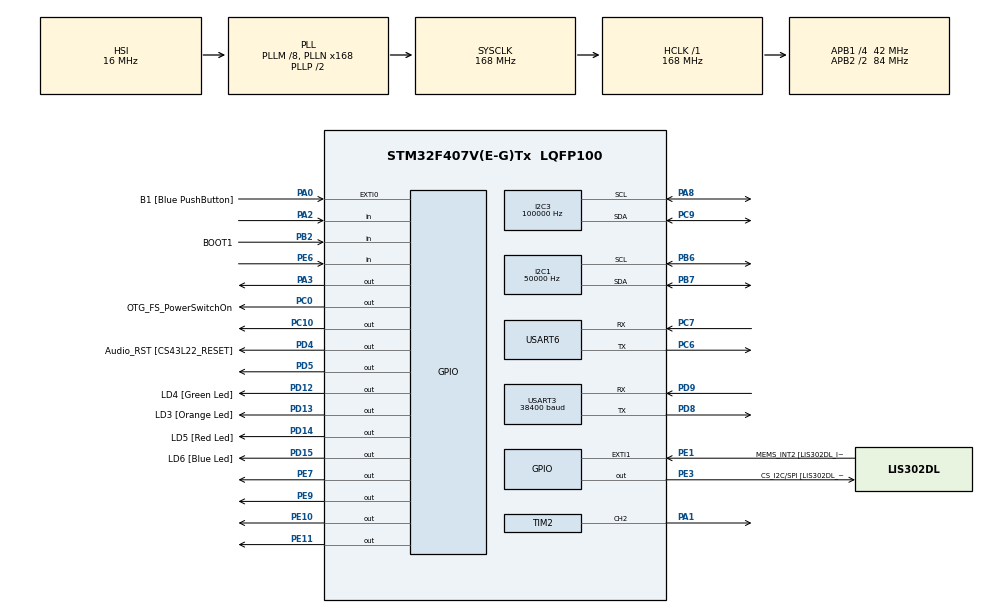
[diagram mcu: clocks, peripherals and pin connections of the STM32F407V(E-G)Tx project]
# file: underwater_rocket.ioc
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Dma.I2C1_RX.2.Direction=DMA_PERIPH_TO_MEMORY
Dma.I2C1_RX.2.FIFOMode=DMA_FIFOMODE_DISABLE
Dma.I2C1_RX.2.Instance=DMA1_Stream5
Dma.I2C1_RX.2.MemDataAlignment=DMA_MDATAALIGN_BYTE
Dma.I2C1_RX.2.MemInc=DMA_MINC_ENABLE
Dma.I2C1_RX.2.Mode=DMA_NORMAL
Dma.I2C1_RX.2.PeriphDataAlignment=DMA_PDATAALIGN_BYTE
Dma.I2C1_RX.2.PeriphInc=DMA_PINC_DISABLE
Dma.I2C1_RX.2.Priority=DMA_PRIORITY_LOW
Dma.I2C1_TX.3.Direction=DMA_MEMORY_TO_PERIPH
Dma.I2C1_TX.3.FIFOMode=DMA_FIFOMODE_DISABLE
Dma.I2C1_TX.3.Instance=DMA1_Stream6
Dma.I2C1_TX.3.MemDataAlignment=DMA_MDATAALIGN_BYTE
Dma.I2C1_TX.3.MemInc=DMA_MINC_ENABLE
Dma.I2C1_TX.3.Mode=DMA_NORMAL
Dma.I2C1_TX.3.PeriphDataAlignment=DMA_PDATAALIGN_BYTE
Dma.I2C1_TX.3.PeriphInc=DMA_PINC_DISABLE
Dma.I2C1_TX.3.Priority=DMA_PRIORITY_LOW
Dma.I2C3_RX.4.Direction=DMA_PERIPH_TO_MEMORY
Dma.I2C3_RX.4.FIFOMode=DMA_FIFOMODE_DISABLE
Dma.I2C3_RX.4.Instance=DMA1_Stream2
Dma.I2C3_RX.4.MemDataAlignment=DMA_MDATAALIGN_BYTE
Dma.I2C3_RX.4.MemInc=DMA_MINC_ENABLE
Dma.I2C3_RX.4.Mode=DMA_NORMAL
Dma.I2C3_RX.4.PeriphDataAlignment=DMA_PDATAALIGN_BYTE
Dma.I2C3_RX.4.PeriphInc=DMA_PINC_DISABLE
Dma.I2C3_RX.4.Priority=DMA_PRIORITY_LOW
Dma.I2C3_TX.5.Direction=DMA_MEMORY_TO_PERIPH
Dma.I2C3_TX.5.FIFOMode=DMA_FIFOMODE_DISABLE
Dma.I2C3_TX.5.Instance=DMA1_Stream4
Dma.I2C3_TX.5.MemDataAlignment=DMA_MDATAALIGN_BYTE
Dma.I2C3_TX.5.MemInc=DMA_MINC_ENABLE
Dma.I2C3_TX.5.Mode=DMA_NORMAL
Dma.I2C3_TX.5.PeriphDataAlignment=DMA_PDATAALIGN_BYTE
Dma.I2C3_TX.5.PeriphInc=DMA_PINC_DISABLE
Dma.I2C3_TX.5.Priority=DMA_PRIORITY_LOW
Dma.Request0=USART6_RX
Dma.Request1=USART6_TX
Dma.Request2=I2C1_RX
Dma.Request3=I2C1_TX
Dma.Request4=I2C3_RX
Dma.Request5=I2C3_TX
Dma.Request6=USART3_RX
Dma.Request7=USART3_TX
Dma.USART3_RX.6.Direction=DMA_PERIPH_TO_MEMORY
Dma.USART3_RX.6.FIFOMode=DMA_FIFOMODE_DISABLE
Dma.USART3_RX.6.Instance=DMA1_Stream1
Dma.USART3_RX.6.MemDataAlignment=DMA_MDATAALIGN_BYTE
Dma.USART3_RX.6.MemInc=DMA_MINC_ENABLE
Dma.USART3_RX.6.Mode=DMA_NORMAL
Dma.USART3_RX.6.PeriphDataAlignment=DMA_PDATAALIGN_BYTE
Dma.USART3_RX.6.PeriphInc=DMA_PINC_DISABLE
Dma.USART3_RX.6.Priority=DMA_PRIORITY_LOW
Dma.USART3_TX.7.Direction=DMA_MEMORY_TO_PERIPH
Dma.USART3_TX.7.FIFOMode=DMA_FIFOMODE_DISABLE
Dma.USART3_TX.7.Instance=DMA1_Stream3
Dma.USART3_TX.7.MemDataAlignment=DMA_MDATAALIGN_BYTE
Dma.USART3_TX.7.MemInc=DMA_MINC_ENABLE
Dma.USART3_TX.7.Mode=DMA_NORMAL
Dma.USART3_TX.7.PeriphDataAlignment=DMA_PDATAALIGN_BYTE
Dma.USART3_TX.7.PeriphInc=DMA_PINC_DISABLE
Dma.USART3_TX.7.Priority=DMA_PRIORITY_LOW
Dma.USART6_RX.0.Direction=DMA_PERIPH_TO_MEMORY
Dma.USART6_RX.0.FIFOMode=DMA_FIFOMODE_DISABLE
Dma.USART6_RX.0.Instance=DMA2_Stream1
Dma.USART6_RX.0.MemDataAlignment=DMA_MDATAALIGN_BYTE
Dma.USART6_RX.0.MemInc=DMA_MINC_ENABLE
Dma.USART6_RX.0.Mode=DMA_NORMAL
Dma.USART6_RX.0.PeriphDataAlignment=DMA_PDATAALIGN_BYTE
Dma.USART6_RX.0.PeriphInc=DMA_PINC_DISABLE
Dma.USART6_RX.0.Priority=DMA_PRIORITY_LOW
Dma.USART6_TX.1.Direction=DMA_MEMORY_TO_PERIPH
Dma.USART6_TX.1.FIFOMode=DMA_FIFOMODE_DISABLE
Dma.USART6_TX.1.Instance=DMA2_Stream6
Dma.USART6_TX.1.MemDataAlignment=DMA_MDATAALIGN_BYTE
Dma.USART6_TX.1.MemInc=DMA_MINC_ENABLE
Dma.USART6_TX.1.Mode=DMA_NORMAL
Dma.USART6_TX.1.PeriphDataAlignment=DMA_PDATAALIGN_BYTE
Dma.USART6_TX.1.PeriphInc=DMA_PINC_DISABLE
Dma.USART6_TX.1.Priority=DMA_PRIORITY_LOW
I2C1.ClockSpeed=50000
I2C3.ClockSpeed=100000
I2C3.I2C_Mode=I2C_Standard
Mcu.Family=STM32F4
Mcu.Name=STM32F407V(E-G)Tx
Mcu.Package=LQFP100
NVIC.DMA1_Stream1_IRQn=true\:10\:0\:true\:false\:true\:false\:true\:true
NVIC.DMA1_Stream2_IRQn=true\:10\:0\:true\:false\:true\:false\:true\:true
NVIC.DMA1_Stream3_IRQn=true\:10\:0\:true\:false\:true\:false\:true\:true
NVIC.DMA1_Stream4_IRQn=true\:10\:0\:true\:false\:true\:false\:true\:true
NVIC.DMA1_Stream5_IRQn=true\:10\:0\:true\:false\:true\:false\:true\:true
NVIC.DMA1_Stream6_IRQn=true\:10\:0\:true\:false\:true\:false\:true\:true
NVIC.DMA2_Stream1_IRQn=true\:10\:0\:true\:false\:true\:false\:true\:true
NVIC.DMA2_Stream6_IRQn=true\:10\:0\:true\:false\:true\:false\:true\:true
NVIC.I2C1_ER_IRQn=true\:10\:0\:true\:false\:true\:true\:true\:true
NVIC.I2C1_EV_IRQn=true\:10\:0\:true\:false\:true\:true\:true\:true
NVIC.I2C3_EV_IRQn=true\:10\:0\:true\:false\:true\:true\:true\:true
NVIC.PriorityGroup=NVIC_PRIORITYGROUP_4
NVIC.TIM6_DAC_IRQn=true\:0\:0\:true\:false\:true\:false\:true\:true
NVIC.TimeBase=TIM6_DAC_IRQn
NVIC.TimeBaseIP=TIM6
NVIC.USART3_IRQn=true\:10\:0\:true\:false\:true\:true\:true\:true
NVIC.USART6_IRQn=true\:10\:0\:true\:false\:true\:true\:true\:true
PA0-WKUP.GPIO_Label=B1 [Blue PushButton]
PA0-WKUP.Signal=GPXTI0
PA1.Signal=S_TIM2_CH2
PA13.GPIO_Label=SWDIO
PA13.Mode=Trace_Asynchronous_SW
PA13.Signal=SYS_JTMS-SWDIO
PA14.GPIO_Label=SWCLK
PA14.Mode=Trace_Asynchronous_SW
PA14.Signal=SYS_JTCK-SWCLK
PA2.Signal=GPIO_Input
PA3.GPIO_ModeDefaultOutputPP=GPIO_MODE_OUTPUT_PP
PA3.GPIO_PuPd=GPIO_NOPULL
PA3.Signal=GPIO_Output
PA4.GPIO_Label=I2S3_WS [CS43L22_LRCK]
PA4.GPIO_Mode=GPIO_MODE_AF_PP
PA4.GPIO_PuPd=GPIO_NOPULL
PA4.GPIO_Speed=GPIO_SPEED_FREQ_LOW
PA4.Signal=I2S3_WS
PA5.GPIO_Label=SPI1_SCK [LIS302DL_SCL/SPC]
PA5.GPIO_Mode=GPIO_MODE_AF_PP
PA5.GPIO_PuPd=GPIO_NOPULL
PA5.GPIO_Speed=GPIO_SPEED_FREQ_LOW
PA5.Signal=SPI1_SCK
PA6.GPIO_Label=SPI1_MISO [LIS302DL_SDO]
PA6.GPIO_Mode=GPIO_MODE_AF_PP
PA6.GPIO_PuPd=GPIO_NOPULL
PA6.GPIO_Speed=GPIO_SPEED_FREQ_LOW
PA6.Signal=SPI1_MISO
PA7.GPIO_Label=SPI1_MOSI [LIS302DL_SDA/SDI/SDO]
PA7.GPIO_Mode=GPIO_MODE_AF_PP
PA7.GPIO_PuPd=GPIO_NOPULL
PA7.GPIO_Speed=GPIO_SPEED_FREQ_LOW
PA7.Signal=SPI1_MOSI
PA8.GPIO_Pu=GPIO_NOPULL
PA8.GPIO_Speed=GPIO_SPEED_FREQ_MEDIUM
PA8.Mode=I2C
PA8.Signal=I2C3_SCL
PB2.GPIO_Label=BOOT1
PB2.GPIO_Mode=GPIO_MODE_INPUT
PB2.GPIO_PuPd=GPIO_NOPULL
PB2.Signal=GPIO_Input
PB3.GPIO_Label=SWO
PB3.Mode=Trace_Asynchronous_SW
PB3.Signal=SYS_JTDO-SWO
PB6.GPIO_Pu=GPIO_NOPULL
PB6.Mode=I2C
PB6.Signal=I2C1_SCL
PB7.GPIO_Pu=GPIO_NOPULL
PB7.Mode=I2C
PB7.Signal=I2C1_SDA
PC0.GPIO_Label=OTG_FS_PowerSwitchOn
PC0.GPIO_PuPd=GPIO_NOPULL
PC0.GPIO_Speed=GPIO_SPEED_FREQ_LOW
PC0.PinState=GPIO_PIN_SET
PC0.Signal=GPIO_Output
PC10.Signal=GPIO_Output
PC14-OSC32_IN.GPIO_Label=PC14-OSC32_IN
PC14-OSC32_IN.Signal=RCC_OSC32_IN
PC15-OSC32_OUT.GPIO_Label=PC15-OSC32_OUT
PC15-OSC32_OUT.Signal=RCC_OSC32_OUT
PC3.GPIO_Label=PDM_OUT [MP45DT02_DOUT]
PC3.GPIO_Mode=GPIO_MODE_AF_PP
PC3.GPIO_PuPd=GPIO_NOPULL
PC3.GPIO_Speed=GPIO_SPEED_FREQ_LOW
PC3.Signal=I2S2_SD
PC6.Mode=Asynchronous
PC6.Signal=USART6_TX
PC7.Mode=Asynchronous
PC7.Signal=USART6_RX
PC9.Mode=I2C
PC9.Signal=I2C3_SDA
PD12.GPIO_Label=LD4 [Green Led]
PD12.GPIO_PuPd=GPIO_NOPULL
PD12.GPIO_Speed=GPIO_SPEED_FREQ_LOW
PD12.Signal=GPIO_Output
PD13.GPIO_Label=LD3 [Orange Led]
PD13.GPIO_PuPd=GPIO_NOPULL
PD13.GPIO_Speed=GPIO_SPEED_FREQ_LOW
PD13.Signal=GPIO_Output
PD14.GPIO_Label=LD5 [Red Led]
PD14.GPIO_PuPd=GPIO_NOPULL
PD14.GPIO_Speed=GPIO_SPEED_FREQ_LOW
PD14.Signal=GPIO_Output
PD15.GPIO_Label=LD6 [Blue Led]
PD15.GPIO_PuPd=GPIO_NOPULL
PD15.GPIO_Speed=GPIO_SPEED_FREQ_LOW
PD15.Signal=GPIO_Output
PD4.GPIO_Label=Audio_RST [CS43L22_RESET]
PD4.GPIO_PuPd=GPIO_NOPULL
PD4.GPIO_Speed=GPIO_SPEED_FREQ_LOW
PD4.Signal=GPIO_Output
PD5.Signal=GPIO_Output
PD8.GPIO_ModeDefaultPP=GPIO_MODE_AF_OD
PD8.Mode=Asynchronous
PD8.Signal=USART3_TX
PD9.GPIO_ModeDefaultPP=GPIO_MODE_AF_OD
PD9.Mode=Asynchronous
PD9.Signal=USART3_RX
PE1.GPIO_Label=MEMS_INT2 [LIS302DL_INT2]
PE1.GPIO_ModeDefaultEXTI=GPIO_MODE_EVT_RISING
PE1.GPIO_PuPd=GPIO_NOPULL
PE1.Signal=GPXTI1
PE10.Signal=GPIO_Output
PE11.Signal=GPIO_Output
PE3.GPIO_Label=CS_I2C/SPI [LIS302DL_CS_I2C/SPI]
PE3.GPIO_PuPd=GPIO_NOPULL
PE3.GPIO_Speed=GPIO_SPEED_FREQ_LOW
PE3.Signal=GPIO_Output
PE6.Signal=GPIO_Input
PE7.Signal=GPIO_Output
PE9.Signal=GPIO_Output
PH0-OSC_IN.GPIO_Label=PH0-OSC_IN
PH0-OSC_IN.Signal=RCC_OSC_IN
PH1-OSC_OUT.GPIO_Label=PH1-OSC_OUT
PH1-OSC_OUT.Signal=RCC_OSC_OUT
ProjectManager.HeapSize=0x200
ProjectManager.StackSize=0x400
ProjectManager.TargetToolchain=CMake
RCC.48MHZClocksFreq_Value=48000000
RCC.AHBFreq_Value=168000000
RCC.APB1CLKDivider=RCC_HCLK_DIV4
RCC.APB1Freq_Value=42000000
RCC.APB1TimFreq_Value=84000000
RCC.APB2CLKDivider=RCC_HCLK_DIV2
RCC.APB2Freq_Value=84000000
RCC.APB2TimFreq_Value=168000000
RCC.CortexFreq_Value=168000000
RCC.HCLKFreq_Value=168000000
RCC.HSE_VALUE=8000000
RCC.HSI_VALUE=16000000
RCC.LSE_VALUE=32768
RCC.PLLM=8
RCC.PLLN=168
RCC.PLLQ=7
RCC.SYSCLKFreq_VALUE=168000000
RCC.SYSCLKSource=RCC_SYSCLKSOURCE_PLLCLK
RCC.VCOOutputFreq_Value=336000000
SH.S_TIM2_CH2.0=TIM2_CH2,PWM Generation2 CH2
TIM2.AutoReloadPreload=TIM_AUTORELOAD_PRELOAD_ENABLE
TIM2.Channel-PWM\ Generation2\ CH2=TIM_CHANNEL_2
TIM2.Period=20000 - 1
TIM2.Prescaler=84 - 1
USART3.BaudRate=38400
USART3.VirtualMode=VM_ASYNC
USART6.Parity=PARITY_EVEN
USART6.VirtualMode=VM_ASYNC
USART6.WordLength=WORDLENGTH_9B
VP_SYS_VS_tim6.Mode=TIM6
VP_TIM2_VS_ClockSourceINT.Mode=Internal
board=STM32F407G-DISC1

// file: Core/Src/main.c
/* USER CODE BEGIN Header */
/**
  ******************************************************************************
  * @file           : main.c
  * @brief          : Main program body
  ******************************************************************************
  * @attention
  *
  * <h2><center>&copy; Copyright (c) 2021 STMicroelectronics.
  * All rights reserved.</center></h2>
  *
  * This software component is licensed by ST under BSD 3-Clause license,
  * the "License"; You may not use this file except in compliance with the
  * License. You may obtain a copy of the License at:
  *                        opensource.org/licenses/BSD-3-Clause
  *
  ******************************************************************************
  */
/* USER CODE END Header */
#include "main.h"

/* USER CODE BEGIN Includes */
#include <stdio.h>
#include <stdlib.h>
#include "FreeRTOS.h"
#include "stm32f4xx_hal_uart.h"
#include "task.h"
#include "semphr.h"
#include "maestro.h"
#include "tasks_config.h"
/* USER CODE END Includes */

I2C_HandleTypeDef hi2c1;
I2C_HandleTypeDef hi2c3;
DMA_HandleTypeDef hdma_i2c1_rx;
DMA_HandleTypeDef hdma_i2c1_tx;
DMA_HandleTypeDef hdma_i2c3_rx;
DMA_HandleTypeDef hdma_i2c3_tx;

TIM_HandleTypeDef htim2;

UART_HandleTypeDef huart3;
UART_HandleTypeDef huart6;
DMA_HandleTypeDef hdma_usart3_rx;
DMA_HandleTypeDef hdma_usart3_tx;
DMA_HandleTypeDef hdma_usart6_rx;
DMA_HandleTypeDef hdma_usart6_tx;

void SystemClock_Config(void);
static void MX_GPIO_Init(void);
static void MX_DMA_Init(void);
static void MX_TIM2_Init(void);
static void MX_USART6_UART_Init(void);
static void MX_I2C1_Init(void);
static void MX_I2C3_Init(void);
static void MX_USART3_UART_Init(void);
/* USER CODE BEGIN PFP */

extern void Callback_BNO_DMA_Rx();
extern void MS5837_DMA_Callback();
extern void Maestro_CallBack();
extern void SEGGER_UART_init(uint32_t);
extern void CommRx_CallBack();
extern void CommTx_CallBack();

/* USER CODE END PFP */

int main(void)
{

  /* MCU Configuration--------------------------------------------------------*/

  /* Reset of all peripherals, Initializes the Flash interface and the Systick. */
  HAL_Init();

  /* USER CODE BEGIN Init */

  HAL_NVIC_SetPriorityGrouping(NVIC_PRIORITYGROUP_4);
  /* USER CODE END Init */

  /* Configure the system clock */
  SystemClock_Config();

  /* Initialize all configured peripherals */
  MX_GPIO_Init();
  MX_DMA_Init();
  MX_TIM2_Init();
  MX_USART6_UART_Init();
  MX_I2C1_Init();
  MX_I2C3_Init();
  MX_USART3_UART_Init();
  /* USER CODE BEGIN 2 */
  HAL_GPIO_WritePin(GPIOA, GPIO_PIN_3 , RESET);
  HAL_NVIC_SetPriority(DMA2_Stream7_IRQn, 10, 0);

 System_Tasks_Init();
  //if the control comes here, then the launch of the scheduler hasA failed due to
  //insufficient memory in heap

  /* USER CODE END 2 */

  /* Infinite loop */
  while (1)
  {

  }
}

void SystemClock_Config(void)
{
  RCC_OscInitTypeDef RCC_OscInitStruct = {0};
  RCC_ClkInitTypeDef RCC_ClkInitStruct = {0};

  /** Configure the main internal regulator output voltage
  */
  __HAL_RCC_PWR_CLK_ENABLE();
  __HAL_PWR_VOLTAGESCALING_CONFIG(PWR_REGULATOR_VOLTAGE_SCALE1);

  /** Initializes the RCC Oscillators according to the specified parameters
  * in the RCC_OscInitTypeDef structure.
  */
  RCC_OscInitStruct.OscillatorType = RCC_OSCILLATORTYPE_HSI;
  RCC_OscInitStruct.HSIState = RCC_HSI_ON;
  RCC_OscInitStruct.HSICalibrationValue = RCC_HSICALIBRATION_DEFAULT;
  RCC_OscInitStruct.PLL.PLLState = RCC_PLL_ON;
  RCC_OscInitStruct.PLL.PLLSource = RCC_PLLSOURCE_HSI;
  RCC_OscInitStruct.PLL.PLLM = 8;
  RCC_OscInitStruct.PLL.PLLN = 168;
  RCC_OscInitStruct.PLL.PLLP = RCC_PLLP_DIV2;
  RCC_OscInitStruct.PLL.PLLQ = 7;
  if (HAL_RCC_OscConfig(&RCC_OscInitStruct) != HAL_OK)
  {
    Error_Handler();
  }

  /** Initializes the CPU, AHB and APB buses clocks
  */
  RCC_ClkInitStruct.ClockType = RCC_CLOCKTYPE_HCLK|RCC_CLOCKTYPE_SYSCLK
                              |RCC_CLOCKTYPE_PCLK1|RCC_CLOCKTYPE_PCLK2;
  RCC_ClkInitStruct.SYSCLKSource = RCC_SYSCLKSOURCE_PLLCLK;
  RCC_ClkInitStruct.AHBCLKDivider = RCC_SYSCLK_DIV1;
  RCC_ClkInitStruct.APB1CLKDivider = RCC_HCLK_DIV4;
  RCC_ClkInitStruct.APB2CLKDivider = RCC_HCLK_DIV2;

  if (HAL_RCC_ClockConfig(&RCC_ClkInitStruct, FLASH_LATENCY_5) != HAL_OK)
  {
    Error_Handler();
  }
}

static void MX_I2C1_Init(void)
{

  hi2c1.Instance = I2C1;
  hi2c1.Init.ClockSpeed = 50000;
  hi2c1.Init.DutyCycle = I2C_DUTYCYCLE_2;
  hi2c1.Init.OwnAddress1 = 0;
  hi2c1.Init.AddressingMode = I2C_ADDRESSINGMODE_7BIT;
  hi2c1.Init.DualAddressMode = I2C_DUALADDRESS_DISABLE;
  hi2c1.Init.OwnAddress2 = 0;
  hi2c1.Init.GeneralCallMode = I2C_GENERALCALL_DISABLE;
  hi2c1.Init.NoStretchMode = I2C_NOSTRETCH_DISABLE;
  if (HAL_I2C_Init(&hi2c1) != HAL_OK)
  {
    Error_Handler();
  }

}

static void MX_I2C3_Init(void)
{

  hi2c3.Instance = I2C3;
  hi2c3.Init.ClockSpeed = 100000;
  hi2c3.Init.DutyCycle = I2C_DUTYCYCLE_2;
  hi2c3.Init.OwnAddress1 = 0;
  hi2c3.Init.AddressingMode = I2C_ADDRESSINGMODE_7BIT;
  hi2c3.Init.DualAddressMode = I2C_DUALADDRESS_DISABLE;
  hi2c3.Init.OwnAddress2 = 0;
  hi2c3.Init.GeneralCallMode = I2C_GENERALCALL_DISABLE;
  hi2c3.Init.NoStretchMode = I2C_NOSTRETCH_DISABLE;
  if (HAL_I2C_Init(&hi2c3) != HAL_OK)
  {
    Error_Handler();
  }

}

static void MX_TIM2_Init(void)
{

  TIM_ClockConfigTypeDef sClockSourceConfig = {0};
  TIM_MasterConfigTypeDef sMasterConfig = {0};
  TIM_OC_InitTypeDef sConfigOC = {0};

  htim2.Instance = TIM2;
  htim2.Init.Prescaler = 84 - 1;
  htim2.Init.CounterMode = TIM_COUNTERMODE_UP;
  htim2.Init.Period = 20000 - 1;
  htim2.Init.ClockDivision = TIM_CLOCKDIVISION_DIV1;
  htim2.Init.AutoReloadPreload = TIM_AUTORELOAD_PRELOAD_ENABLE;
  if (HAL_TIM_Base_Init(&htim2) != HAL_OK)
  {
    Error_Handler();
  }
  sClockSourceConfig.ClockSource = TIM_CLOCKSOURCE_INTERNAL;
  if (HAL_TIM_ConfigClockSource(&htim2, &sClockSourceConfig) != HAL_OK)
  {
    Error_Handler();
  }
  if (HAL_TIM_PWM_Init(&htim2) != HAL_OK)
  {
    Error_Handler();
  }
  sMasterConfig.MasterOutputTrigger = TIM_TRGO_RESET;
  sMasterConfig.MasterSlaveMode = TIM_MASTERSLAVEMODE_DISABLE;
  if (HAL_TIMEx_MasterConfigSynchronization(&htim2, &sMasterConfig) != HAL_OK)
  {
    Error_Handler();
  }
  sConfigOC.OCMode = TIM_OCMODE_PWM1;
  sConfigOC.Pulse = 0;
  sConfigOC.OCPolarity = TIM_OCPOLARITY_HIGH;
  sConfigOC.OCFastMode = TIM_OCFAST_DISABLE;
  if (HAL_TIM_PWM_ConfigChannel(&htim2, &sConfigOC, TIM_CHANNEL_2) != HAL_OK)
  {
    Error_Handler();
  }
  HAL_TIM_MspPostInit(&htim2);

}

static void MX_USART3_UART_Init(void)
{

  huart3.Instance = USART3;
  huart3.Init.BaudRate = 38400;
  huart3.Init.WordLength = UART_WORDLENGTH_8B;
  huart3.Init.StopBits = UART_STOPBITS_1;
  huart3.Init.Parity = UART_PARITY_NONE;
  huart3.Init.Mode = UART_MODE_TX_RX;
  huart3.Init.HwFlowCtl = UART_HWCONTROL_NONE;
  huart3.Init.OverSampling = UART_OVERSAMPLING_16;
  if (HAL_UART_Init(&huart3) != HAL_OK)
  {
    Error_Handler();
  }

}

static void MX_USART6_UART_Init(void)
{

  huart6.Instance = USART6;
  huart6.Init.BaudRate = 115200;
  huart6.Init.WordLength = UART_WORDLENGTH_9B;
  huart6.Init.StopBits = UART_STOPBITS_1;
  huart6.Init.Parity = UART_PARITY_EVEN;
  huart6.Init.Mode = UART_MODE_TX_RX;
  huart6.Init.HwFlowCtl = UART_HWCONTROL_NONE;
  huart6.Init.OverSampling = UART_OVERSAMPLING_16;
  if (HAL_UART_Init(&huart6) != HAL_OK)
  {
    Error_Handler();
  }

}

static void MX_DMA_Init(void)
{

  /* DMA controller clock enable */
  __HAL_RCC_DMA2_CLK_ENABLE();
  __HAL_RCC_DMA1_CLK_ENABLE();

  /* DMA interrupt init */
  /* DMA1_Stream1_IRQn interrupt configuration */
  HAL_NVIC_SetPriority(DMA1_Stream1_IRQn, 10, 0);
  HAL_NVIC_EnableIRQ(DMA1_Stream1_IRQn);
  /* DMA1_Stream2_IRQn interrupt configuration */
  HAL_NVIC_SetPriority(DMA1_Stream2_IRQn, 10, 0);
  HAL_NVIC_EnableIRQ(DMA1_Stream2_IRQn);
  /* DMA1_Stream3_IRQn interrupt configuration */
  HAL_NVIC_SetPriority(DMA1_Stream3_IRQn, 10, 0);
  HAL_NVIC_EnableIRQ(DMA1_Stream3_IRQn);
  /* DMA1_Stream4_IRQn interrupt configuration */
  HAL_NVIC_SetPriority(DMA1_Stream4_IRQn, 10, 0);
  HAL_NVIC_EnableIRQ(DMA1_Stream4_IRQn);
  /* DMA1_Stream5_IRQn interrupt configuration */
  HAL_NVIC_SetPriority(DMA1_Stream5_IRQn, 10, 0);
  HAL_NVIC_EnableIRQ(DMA1_Stream5_IRQn);
  /* DMA1_Stream6_IRQn interrupt configuration */
  HAL_NVIC_SetPriority(DMA1_Stream6_IRQn, 10, 0);
  HAL_NVIC_EnableIRQ(DMA1_Stream6_IRQn);
  /* DMA2_Stream1_IRQn interrupt configuration */
  HAL_NVIC_SetPriority(DMA2_Stream1_IRQn, 10, 0);
  HAL_NVIC_EnableIRQ(DMA2_Stream1_IRQn);
  /* DMA2_Stream6_IRQn interrupt configuration */
  HAL_NVIC_SetPriority(DMA2_Stream6_IRQn, 10, 0);
  HAL_NVIC_EnableIRQ(DMA2_Stream6_IRQn);

}

static void MX_GPIO_Init(void)
{
  GPIO_InitTypeDef GPIO_InitStruct = {0};

  /* GPIO Ports Clock Enable */
  __HAL_RCC_GPIOE_CLK_ENABLE();
  __HAL_RCC_GPIOC_CLK_ENABLE();
  __HAL_RCC_GPIOH_CLK_ENABLE();
  __HAL_RCC_GPIOA_CLK_ENABLE();
  __HAL_RCC_GPIOB_CLK_ENABLE();
  __HAL_RCC_GPIOD_CLK_ENABLE();

  /*Configure GPIO pin Output Level */
  HAL_GPIO_WritePin(GPIOE, CS_I2C_SPI_Pin|GPIO_PIN_7|GPIO_PIN_9|GPIO_PIN_10
                          |GPIO_PIN_11, GPIO_PIN_RESET);

  /*Configure GPIO pin Output Level */
  HAL_GPIO_WritePin(OTG_FS_PowerSwitchOn_GPIO_Port, OTG_FS_PowerSwitchOn_Pin, GPIO_PIN_SET);

  /*Configure GPIO pin Output Level */
  HAL_GPIO_WritePin(GPIOA, GPIO_PIN_3, GPIO_PIN_RESET);

  /*Configure GPIO pin Output Level */
  HAL_GPIO_WritePin(GPIOD, LD4_Pin|LD3_Pin|LD5_Pin|LD6_Pin
                          |Audio_RST_Pin|GPIO_PIN_5, GPIO_PIN_RESET);

  /*Configure GPIO pin Output Level */
  HAL_GPIO_WritePin(GPIOC, GPIO_PIN_10, GPIO_PIN_RESET);

  /*Configure GPIO pins : CS_I2C_SPI_Pin PE7 PE9 PE10
                           PE11 */
  GPIO_InitStruct.Pin = CS_I2C_SPI_Pin|GPIO_PIN_7|GPIO_PIN_9|GPIO_PIN_10
                          |GPIO_PIN_11;
  GPIO_InitStruct.Mode = GPIO_MODE_OUTPUT_PP;
  GPIO_InitStruct.Pull = GPIO_NOPULL;
  GPIO_InitStruct.Speed = GPIO_SPEED_FREQ_LOW;
  HAL_GPIO_Init(GPIOE, &GPIO_InitStruct);

  /*Configure GPIO pin : PE6 */
  GPIO_InitStruct.Pin = GPIO_PIN_6;
  GPIO_InitStruct.Mode = GPIO_MODE_INPUT;
  GPIO_InitStruct.Pull = GPIO_NOPULL;
  HAL_GPIO_Init(GPIOE, &GPIO_InitStruct);

  /*Configure GPIO pins : OTG_FS_PowerSwitchOn_Pin PC10 */
  GPIO_InitStruct.Pin = OTG_FS_PowerSwitchOn_Pin|GPIO_PIN_10;
  GPIO_InitStruct.Mode = GPIO_MODE_OUTPUT_PP;
  GPIO_InitStruct.Pull = GPIO_NOPULL;
  GPIO_InitStruct.Speed = GPIO_SPEED_FREQ_LOW;
  HAL_GPIO_Init(GPIOC, &GPIO_InitStruct);

  /*Configure GPIO pin : PDM_OUT_Pin */
  GPIO_InitStruct.Pin = PDM_OUT_Pin;
  GPIO_InitStruct.Mode = GPIO_MODE_AF_PP;
  GPIO_InitStruct.Pull = GPIO_NOPULL;
  GPIO_InitStruct.Speed = GPIO_SPEED_FREQ_LOW;
  GPIO_InitStruct.Alternate = GPIO_AF5_SPI2;
  HAL_GPIO_Init(PDM_OUT_GPIO_Port, &GPIO_InitStruct);

  /*Configure GPIO pin : B1_Pin */
  GPIO_InitStruct.Pin = B1_Pin;
  GPIO_InitStruct.Mode = GPIO_MODE_IT_RISING;
  GPIO_InitStruct.Pull = GPIO_NOPULL;
  HAL_GPIO_Init(B1_GPIO_Port, &GPIO_InitStruct);

  /*Configure GPIO pin : PA2 */
  GPIO_InitStruct.Pin = GPIO_PIN_2;
  GPIO_InitStruct.Mode = GPIO_MODE_INPUT;
  GPIO_InitStruct.Pull = GPIO_NOPULL;
  HAL_GPIO_Init(GPIOA, &GPIO_InitStruct);

  /*Configure GPIO pin : PA3 */
  GPIO_InitStruct.Pin = GPIO_PIN_3;
  GPIO_InitStruct.Mode = GPIO_MODE_OUTPUT_PP;
  GPIO_InitStruct.Pull = GPIO_NOPULL;
  GPIO_InitStruct.Speed = GPIO_SPEED_FREQ_LOW;
  HAL_GPIO_Init(GPIOA, &GPIO_InitStruct);

  /*Configure GPIO pin : I2S3_WS_Pin */
  GPIO_InitStruct.Pin = I2S3_WS_Pin;
  GPIO_InitStruct.Mode = GPIO_MODE_AF_PP;
  GPIO_InitStruct.Pull = GPIO_NOPULL;
  GPIO_InitStruct.Speed = GPIO_SPEED_FREQ_LOW;
  GPIO_InitStruct.Alternate = GPIO_AF6_SPI3;
  HAL_GPIO_Init(I2S3_WS_GPIO_Port, &GPIO_InitStruct);

  /*Configure GPIO pins : SPI1_SCK_Pin SPI1_MISO_Pin SPI1_MOSI_Pin */
  GPIO_InitStruct.Pin = SPI1_SCK_Pin|SPI1_MISO_Pin|SPI1_MOSI_Pin;
  GPIO_InitStruct.Mode = GPIO_MODE_AF_PP;
  GPIO_InitStruct.Pull = GPIO_NOPULL;
  GPIO_InitStruct.Speed = GPIO_SPEED_FREQ_LOW;
  GPIO_InitStruct.Alternate = GPIO_AF5_SPI1;
  HAL_GPIO_Init(GPIOA, &GPIO_InitStruct);

  /*Configure GPIO pin : BOOT1_Pin */
  GPIO_InitStruct.Pin = BOOT1_Pin;
  GPIO_InitStruct.Mode = GPIO_MODE_INPUT;
  GPIO_InitStruct.Pull = GPIO_NOPULL;
  HAL_GPIO_Init(BOOT1_GPIO_Port, &GPIO_InitStruct);

  /*Configure GPIO pins : LD4_Pin LD3_Pin LD5_Pin LD6_Pin
                           Audio_RST_Pin PD5 */
  GPIO_InitStruct.Pin = LD4_Pin|LD3_Pin|LD5_Pin|LD6_Pin
                          |Audio_RST_Pin|GPIO_PIN_5;
  GPIO_InitStruct.Mode = GPIO_MODE_OUTPUT_PP;
  GPIO_InitStruct.Pull = GPIO_NOPULL;
  GPIO_InitStruct.Speed = GPIO_SPEED_FREQ_LOW;
  HAL_GPIO_Init(GPIOD, &GPIO_InitStruct);

  /*Configure GPIO pin : MEMS_INT2_Pin */
  GPIO_InitStruct.Pin = MEMS_INT2_Pin;
  GPIO_InitStruct.Mode = GPIO_MODE_EVT_RISING;
  GPIO_InitStruct.Pull = GPIO_NOPULL;
  HAL_GPIO_Init(MEMS_INT2_GPIO_Port, &GPIO_InitStruct);

}

/* USER CODE BEGIN 4 */

/* USER CODE BEGIN 4 */
/* USER CODE BEGIN 4 */

void HAL_I2C_MasterRxCpltCallback(I2C_HandleTypeDef *hi2c)
{
    if(hi2c->Instance == I2C3) // MS5837
    {
        MS5837_DMA_Callback();
    }

}

// 3. MASTER YAZMA (MS5837 Komut Gönderme İçin)
void HAL_I2C_MasterTxCpltCallback(I2C_HandleTypeDef *hi2c)
{
    if(hi2c->Instance == I2C3) // MS5837
    {
        MS5837_DMA_Callback();
    }
}

void HAL_I2C_MemRxCpltCallback(I2C_HandleTypeDef *hi2c)
{
    if(hi2c->Instance == I2C1)
    {
        Callback_BNO_DMA_Rx();
    }
}

void HAL_UART_TxCpltCallback(UART_HandleTypeDef *huart)
{
    if(huart->Instance == huart3.Instance)
    {
      Maestro_CallBack();

    }
    if(huart->Instance == huart6.Instance)
    {

      CommTx_CallBack();
    }

}

void HAL_UART_RxCpltCallback(UART_HandleTypeDef *huart)
{
   if(huart->Instance == huart6.Instance)
   {
     CommRx_CallBack();
   }
}

void vApplicationMallocFailedHook(void) {

    __disable_irq();
    while(1);
}
/* USER CODE END 4 */

void HAL_TIM_PeriodElapsedCallback(TIM_HandleTypeDef *htim)
{
  if (htim->Instance == TIM6)
  {
    HAL_IncTick();
  }
}

void Error_Handler(void)
{
}
